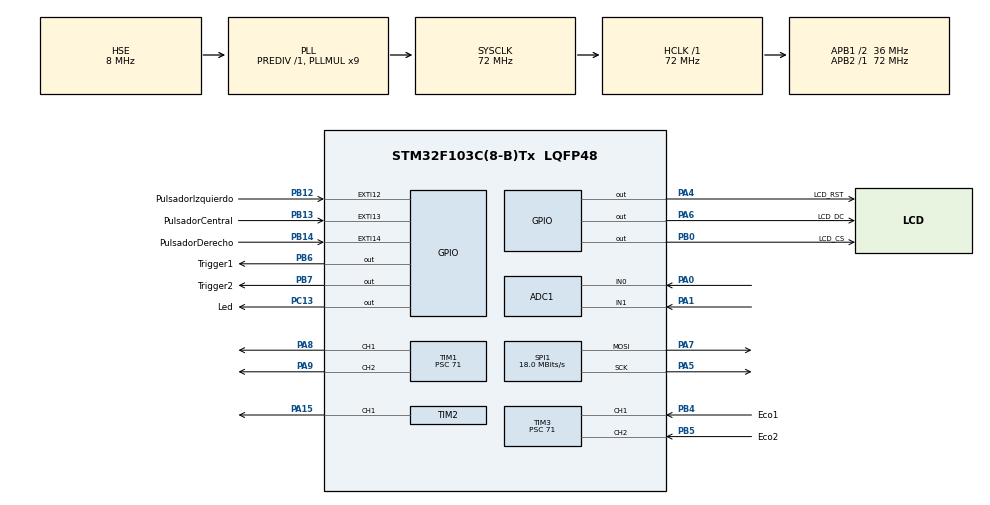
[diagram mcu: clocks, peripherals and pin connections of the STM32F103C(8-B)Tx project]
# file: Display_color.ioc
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ADC1.Channel-8\#ChannelRegularConversion=ADC_CHANNEL_0
ADC1.Channel-9\#ChannelRegularConversion=ADC_CHANNEL_1
ADC1.ContinuousConvMode=DISABLE
ADC1.NbrOfConversion=2
ADC1.NbrOfConversionFlag=1
ADC1.Rank-8\#ChannelRegularConversion=1
ADC1.Rank-9\#ChannelRegularConversion=2
ADC1.SamplingTime-8\#ChannelRegularConversion=ADC_SAMPLETIME_1CYCLE_5
ADC1.SamplingTime-9\#ChannelRegularConversion=ADC_SAMPLETIME_1CYCLE_5
ADC1.master=1
Dma.ADC1.1.Direction=DMA_PERIPH_TO_MEMORY
Dma.ADC1.1.Instance=DMA1_Channel1
Dma.ADC1.1.MemDataAlignment=DMA_MDATAALIGN_WORD
Dma.ADC1.1.MemInc=DMA_MINC_ENABLE
Dma.ADC1.1.Mode=DMA_CIRCULAR
Dma.ADC1.1.PeriphDataAlignment=DMA_PDATAALIGN_WORD
Dma.ADC1.1.PeriphInc=DMA_PINC_DISABLE
Dma.ADC1.1.Priority=DMA_PRIORITY_LOW
Dma.Request0=SPI1_TX
Dma.Request1=ADC1
Dma.SPI1_TX.0.Direction=DMA_MEMORY_TO_PERIPH
Dma.SPI1_TX.0.Instance=DMA1_Channel3
Dma.SPI1_TX.0.MemDataAlignment=DMA_MDATAALIGN_BYTE
Dma.SPI1_TX.0.MemInc=DMA_MINC_ENABLE
Dma.SPI1_TX.0.Mode=DMA_NORMAL
Dma.SPI1_TX.0.PeriphDataAlignment=DMA_PDATAALIGN_BYTE
Dma.SPI1_TX.0.PeriphInc=DMA_PINC_DISABLE
Dma.SPI1_TX.0.Priority=DMA_PRIORITY_LOW
Mcu.Family=STM32F1
Mcu.Name=STM32F103C(8-B)Tx
Mcu.Package=LQFP48
NVIC.ADC1_2_IRQn=true\:0\:0\:false\:false\:true\:true\:true\:true
NVIC.DMA1_Channel1_IRQn=true\:0\:0\:false\:false\:true\:false\:true\:true
NVIC.DMA1_Channel3_IRQn=true\:0\:0\:false\:false\:true\:false\:true\:true
NVIC.EXTI15_10_IRQn=true\:0\:0\:false\:false\:true\:true\:true\:true
NVIC.PriorityGroup=NVIC_PRIORITYGROUP_4
NVIC.SPI1_IRQn=true\:0\:0\:false\:false\:true\:true\:true\:true
NVIC.TIM4_IRQn=true\:0\:0\:false\:false\:true\:true\:true\:true
PA0-WKUP.Signal=ADCx_IN0
PA1.Signal=ADCx_IN1
PA13.Mode=Serial_Wire
PA13.Signal=SYS_JTMS-SWDIO
PA14.Mode=Serial_Wire
PA14.Signal=SYS_JTCK-SWCLK
PA15.Signal=S_TIM2_CH1_ETR
PA4.GPIO_Label=LCD_RST
PA4.GPIO_PuPd=GPIO_PULLUP
PA4.GPIO_Speed=GPIO_SPEED_FREQ_HIGH
PA4.PinState=GPIO_PIN_SET
PA4.Signal=GPIO_Output
PA5.Mode=TX_Only_Simplex_Unidirect_Master
PA5.Signal=SPI1_SCK
PA6.GPIO_Label=LCD_DC
PA6.GPIO_PuPd=GPIO_PULLUP
PA6.GPIO_Speed=GPIO_SPEED_FREQ_HIGH
PA6.PinState=GPIO_PIN_SET
PA6.Signal=GPIO_Output
PA7.Mode=TX_Only_Simplex_Unidirect_Master
PA7.Signal=SPI1_MOSI
PA8.Signal=S_TIM1_CH1
PA9.Signal=S_TIM1_CH2
PB0.GPIO_Label=LCD_CS
PB0.GPIO_PuPd=GPIO_PULLUP
PB0.GPIO_Speed=GPIO_SPEED_FREQ_HIGH
PB0.PinState=GPIO_PIN_SET
PB0.Signal=GPIO_Output
PB12.GPIO_Label=PulsadorIzquierdo
PB12.GPIO_ModeDefaultEXTI=GPIO_MODE_IT_FALLING
PB12.GPIO_PuPd=GPIO_PULLUP
PB12.Signal=GPXTI12
PB13.GPIO_Label=PulsadorCentral
PB13.GPIO_ModeDefaultEXTI=GPIO_MODE_IT_FALLING
PB13.GPIO_PuPd=GPIO_PULLUP
PB13.Signal=GPXTI13
PB14.GPIO_Label=PulsadorDerecho
PB14.GPIO_ModeDefaultEXTI=GPIO_MODE_IT_FALLING
PB14.GPIO_PuPd=GPIO_PULLUP
PB14.Signal=GPXTI14
PB4.GPIO_Label=Eco1
PB4.Signal=S_TIM3_CH1
PB5.GPIO_Label=Eco2
PB5.Signal=S_TIM3_CH2
PB6.GPIO_Label=Trigger1
PB6.Signal=GPIO_Output
PB7.GPIO_Label=Trigger2
PB7.Signal=GPIO_Output
PC13-TAMPER-RTC.GPIO_Label=Led
PC13-TAMPER-RTC.GPIO_PuPd=GPIO_NOPULL
PC13-TAMPER-RTC.GPIO_Speed=GPIO_SPEED_FREQ_LOW
PC13-TAMPER-RTC.PinState=GPIO_PIN_SET
PC13-TAMPER-RTC.Signal=GPIO_Output
PD0-OSC_IN.Mode=HSE-External-Oscillator
PD0-OSC_IN.Signal=RCC_OSC_IN
PD1-OSC_OUT.Mode=HSE-External-Oscillator
PD1-OSC_OUT.Signal=RCC_OSC_OUT
ProjectManager.HeapSize=0x200
ProjectManager.StackSize=0x400
ProjectManager.TargetToolchain=STM32CubeIDE
RCC.ADCPresc=RCC_ADCPCLK2_DIV6
RCC.AHBFreq_Value=72000000
RCC.APB1CLKDivider=RCC_HCLK_DIV2
RCC.APB1Freq_Value=36000000
RCC.APB1TimFreq_Value=72000000
RCC.APB2Freq_Value=72000000
RCC.APB2TimFreq_Value=72000000
RCC.HCLKFreq_Value=72000000
RCC.PLLMUL=RCC_PLL_MUL9
RCC.PLLSourceVirtual=RCC_PLLSOURCE_HSE
RCC.SYSCLKFreq_VALUE=72000000
RCC.SYSCLKSource=RCC_SYSCLKSOURCE_PLLCLK
RCC.USBFreq_Value=72000000
SH.ADCx_IN0.0=ADC1_IN0,IN0
SH.ADCx_IN1.0=ADC1_IN1,IN1
SH.S_TIM1_CH1.0=TIM1_CH1,PWM Generation1 CH1
SH.S_TIM1_CH2.0=TIM1_CH2,PWM Generation2 CH2
SH.S_TIM2_CH1_ETR.0=TIM2_CH1,PWM Generation1 CH1
SH.S_TIM3_CH1.0=TIM3_CH1,Input_Capture1_from_TI1
SH.S_TIM3_CH2.0=TIM3_CH2,Input_Capture2_from_TI2
SPI1.BaudRatePrescaler=SPI_BAUDRATEPRESCALER_4
SPI1.CalculateBaudRate=18.0 MBits/s
SPI1.Direction=SPI_DIRECTION_2LINES
SPI1.Mode=SPI_MODE_MASTER
SPI1.VirtualType=VM_MASTER
TIM1.Channel-PWM\ Generation1\ CH1=TIM_CHANNEL_1
TIM1.Channel-PWM\ Generation2\ CH2=TIM_CHANNEL_2
TIM1.Period=99
TIM1.Prescaler=71
TIM2.Channel-PWM\ Generation1\ CH1=TIM_CHANNEL_1
TIM2.Period=19999
TIM2.Prescaler=71
TIM3.Channel-Input_Capture1_from_TI1=TIM_CHANNEL_1
TIM3.Channel-Input_Capture2_from_TI2=TIM_CHANNEL_2
TIM3.Prescaler=71
TIM4.Prescaler=71
VP_TIM4_VS_ClockSourceITR.Mode=TriggerSource_ITR0
board=custom

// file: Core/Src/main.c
/* USER CODE BEGIN Header */
/**
  ******************************************************************************
  * @file           : main.c
  * @brief          : Main program body
  ******************************************************************************
  * @attention
  *
  * Copyright (c) 2026 STMicroelectronics.
  * All rights reserved.
  *
  * This software is licensed under terms that can be found in the LICENSE file
  * in the root directory of this software component.
  * If no LICENSE file comes with this software, it is provided AS-IS.
  *
  ******************************************************************************
  */
/* USER CODE END Header */
#include "main.h"
#include "adc.h"
#include "dma.h"
#include "spi.h"
#include "tim.h"
#include "gpio.h"

/* USER CODE BEGIN Includes */
#include "stdio.h"
#include "stdlib.h"
#include "ILI9341_STM32_Driver.h"
#include "ILI9341_GFX.h"
#include "ULTRASONICO.h"

/* USER CODE END Includes */

void SystemClock_Config(void);
/* USER CODE BEGIN PFP */

//Variables para el ADC
uint32_t canal_adc[2];
uint16_t adc1;
uint16_t adc2;
//Constante para servo
#define PULSE_MIN 550
#define PULSE_MAX 2450
//Variables para los PWM de los leds
static uint8_t duty_pwm_rojo=0;
static uint8_t porcentaje_duty_rojo=0;
static uint8_t duty_pwm_azul=0;
static uint8_t porcentaje_duty_azul=0;
//
static int contador=0;
static int contadorBarrido=0;
//uint8_t con;
//uint8_t fun;
//int r=0;

//Varibles de buffer para pasar de entero a cadena de texto
char z[20];
char y[20];
char red[20];
char blue[20];

static uint8_t dist_izq, dist_der;
int incremento = 2;

int anguloActual = 90;
float dIzq, dCentro, dDer;

uint8_t angulo=0;
uint8_t sentidoDegiro=0;

uint8_t pulso=0;
uint32_t ultimoPulso_izquierdo=0;
uint32_t muestraDeTiempoActual_izquierdo;
uint32_t ultimoPulso_central=0;
uint32_t muestraDeTiempoActual_central;
uint32_t ultimoPulso_derecho=0;
uint32_t muestraDeTiempoActual_derecho;

//Variables de estado para los pulsadores
volatile uint8_t IndiceMenu=1;
volatile uint8_t EnterMenu=0;
volatile uint8_t HabilitoPulsadoresID=1;
volatile uint8_t HabilitoEnter=0;
//Matriz para dibujar flecha
static  const uint8_t arrow[5][5] = {
   {0,0,1,0,0,},
   {0,0,1,1,0,},
   {1,1,1,1,1,},
   {0,0,1,1,0,},
   {0,0,1,0,0,}
  };
//Matriz para borrar flecha
static  const uint8_t arrow_borrar[5][5] = {
   {1,1,1,1,1,},
   {1,1,1,1,1,},
   {1,1,1,1,1,},
   {1,1,1,1,1,},
   {1,1,1,1,1,}
  };

/* USER CODE END PFP */

int main(void)
{

  /* MCU Configuration--------------------------------------------------------*/

  /* Reset of all peripherals, Initializes the Flash interface and the Systick. */
  HAL_Init();

  /* USER CODE BEGIN Init */
  MX_GPIO_Init();
  MX_DMA_Init();
  MX_SPI1_Init();

  MX_ADC1_Init();

  ILI9341_Init();

  /* USER CODE END Init */

  /* Configure the system clock */
  SystemClock_Config();

  /* Initialize all configured peripherals */
  MX_GPIO_Init();
  MX_DMA_Init();
  MX_SPI1_Init();
  MX_ADC1_Init();
  MX_TIM1_Init();
  MX_TIM3_Init();
  MX_TIM4_Init();
  MX_TIM2_Init();
  /* USER CODE BEGIN 2 */
//Timer de blink del led
  HAL_TIM_Base_Start_IT(&htim4);
//Configuracion display
  ILI9341_FillScreen(BLACK);
//Configuracion PWM------------------------
//El timer 1 para los PWM de los leds
  HAL_TIM_PWM_Start(&htim1, TIM_CHANNEL_1);  //Led rojo
  __HAL_TIM_SetCompare(&htim1,TIM_CHANNEL_1,0);//Led rojo
  HAL_TIM_PWM_Start(&htim1, TIM_CHANNEL_2);  //Led azul
  __HAL_TIM_SetCompare(&htim1,TIM_CHANNEL_2,200);//Led azul
//El timer 2 es para el PWM del servo
  HAL_TIM_PWM_Start(&htim2, TIM_CHANNEL_1);  //Servo
  __HAL_TIM_SetCompare(&htim2,TIM_CHANNEL_1,0);//Servo
//El timer 3 es para la entrada de captura el sensor ultrasonico
  HAL_TIM_IC_Start(&htim3, TIM_CHANNEL_1);
//El timer 4 es para blink del led y la habilitacion de la conversion ADC
  HAL_TIM_Base_Start_IT(&htim4);
  /* USER CODE END 2 */
  /* Infinite loop */
  /* USER CODE BEGIN WHILE */
///Funciones para graficar y borrar flecha selectora de display
#define ESCALA 4   // ← cambiá esto a 2, 3, 4, 5...

void drawArrow(uint16_t x, uint16_t y, uint16_t color)
{
    for (int j = 0; j < 5; j++)          // filas
    {
        for (int i = 0; i < 5; i++)      // columnas
        {
            if (arrow[j][i])
            {
                // dibuja un bloque SCALE x SCALE
                for (int dy = 0; dy < ESCALA; dy++)
                {
                    for (int dx = 0; dx < ESCALA; dx++)
                    {
                    	ILI9341_DrawPixel(
                            x + i * ESCALA + dx,
                            y + j * ESCALA + dy,
                            color
                        );
                    }
                }
            }
        }
    }
}

void drawArrow_borrar(uint16_t x, uint16_t y)
{
    for (int j = 0; j < 5; j++)          // filas
    {
        for (int i = 0; i < 5; i++)      // columnas
        {
            if (arrow_borrar[j][i])
            {
                // dibuja un bloque SCALE x SCALE
                for (int dy = 0; dy < ESCALA; dy++)
                {
                    for (int dx = 0; dx < ESCALA; dx++)
                    {
                    	ILI9341_DrawPixel(
                            x + i * ESCALA + dx,
                            y + j * ESCALA + dy,
                            BLACK
                        );
                    }
                }
            }
        }
    }
}

//Estructuras para generar instancias de dos ultrasonicos

         extern TIM_HandleTypeDef htim3;
         ULTRASONIC_HandleTypeDef sensor1 =
         {
             .TRIG_Port = GPIOB,
             .TRIG_Pin  = Trigger1_Pin,
             .ECHO_Port = GPIOB,
             .ECHO_Pin  = Eco1_Pin,
             .htim      = &htim3
         };

         ULTRASONIC_HandleTypeDef sensor2 =
         {
             .TRIG_Port = GPIOB,
             .TRIG_Pin  = Trigger2_Pin,
             .ECHO_Port = GPIOB,
             .ECHO_Pin  = Eco2_Pin,
             .htim      = &htim3
         };

         ultrasonic_init(&sensor1);
         ultrasonic_init(&sensor2);

//Funcion para calcular el ancho de pulso maximo y minimo del servo
void GiroAnguloServo(uint8_t angulo)
{
	uint16_t pwmServo;
	pwmServo=(uint16_t)((angulo-0)*(PULSE_MAX-PULSE_MIN) / (180-0)+PULSE_MIN );
	__HAL_TIM_SetCompare(&htim2,TIM_CHANNEL_1,pwmServo);

}
//Funcion para graficar indice de menu en display
void pintarMenu()
{    ILI9341_FillScreen(BLACK);
	 ILI9341_DrawText("Sonar", FONT6, 22, 0, WHITE, BLACK);
	 ILI9341_DrawText("Seguimiento", FONT6, 22, 30, WHITE, BLACK);
	 ILI9341_DrawText("Autores", FONT6, 22, 60, WHITE, BLACK);
	 ILI9341_DrawText("Valores ADC", FONT6, 22, 90, WHITE, BLACK);
}

//Funcion para rotar la pantalla
ILI9341_SetRotation(SCREEN_VERTICAL_2);
//Variables de estado para el menu
uint8_t caso4_ejecutado = 0;
uint8_t caso3_ejecutado = 0;
uint8_t caso2_ejecutado = 0;
uint8_t caso1_ejecutado = 0;
uint8_t sentidoBarrido = 0;  // 0 = ida, 1 = vuelta
//Llamado de funcion para graficar menu
pintarMenu();

  while (1)
  {

    switch(IndiceMenu)
    {
    case 1:
    	   HabilitoEnter=1;

    	   if(EnterMenu==1)//Pregunto si ingreso el primer pulso de Enter

    	 {

    		   HabilitoPulsadoresID=0;//Deshabilito pulsador izquierdo y derecho

           if(caso1_ejecutado==0)
           {     ILI9341_FillScreen(BLACK);
        	   caso1_ejecutado=1;
        	   ILI9341_SetRotation(SCREEN_HORIZONTAL_2);
        	   ILI9341_DrawText("DISTANCIA: ", FONT4, 10, 10, WHITE, BLACK);
           }

    	 dist_izq = ultrasonic_measure_distance(&sensor2);

    	 // -------- IDA --------
    	 if (sentidoBarrido == 0)
    	 {
    	     GiroAnguloServo(contadorBarrido);

    	     dist_izq = ultrasonic_measure_distance(&sensor2);
    	     sprintf(z, "%d cm", (int)dist_izq);
    	     ILI9341_DrawText(z, FONT4, 120, 10, CYAN, BLACK);

    	     ILI9341_DibujarBarridoAngulo(
    	         dist_izq * 7,
    	         contadorBarrido,
    	         contadorBarrido + 2,
    	         1,
    	         GREEN
    	     );

    	     contadorBarrido += 2;

    	     if (contadorBarrido >= 180)
    	     {
    	         contadorBarrido = 180;
    	         sentidoBarrido = 1;

    	         ILI9341_FillScreen(BLACK);
    	         ILI9341_DrawText("DISTANCIA: ", FONT4, 10, 10, WHITE, BLACK);
    	     }
    	 }

    	 // -------- VUELTA --------
    	 else
    	 {
    	     GiroAnguloServo(contadorBarrido);

    	     dist_izq = ultrasonic_measure_distance(&sensor2);
    	     sprintf(z, "%d cm", (int)dist_izq);
    	     ILI9341_DrawText(z, FONT4, 120, 10, CYAN, BLACK);

    	     ILI9341_DibujarBarridoAngulo(
    	         dist_izq * 7,
    	         contadorBarrido,
    	         contadorBarrido + 2,
    	         1,
    	         RED
    	     );

    	     if (contadorBarrido > 0)
    	     { contadorBarrido -= 2;}
    	     else
    	     { sentidoBarrido = 0;
    	       ILI9341_FillScreen(BLACK);
    	       ILI9341_DrawText("DISTANCIA: ", FONT4, 10, 10, WHITE, BLACK);
    	     }

    	 }

    	 }

           else if(EnterMenu==2)//Pregunto si ingreso el segundo pulso de Enter
           {EnterMenu=0;
            HabilitoPulsadoresID=1;
            caso1_ejecutado=0;
            ILI9341_SetRotation(SCREEN_VERTICAL_2);
            pintarMenu();
           }

    	   if(EnterMenu==0)
    	   { drawArrow_borrar(0, 90);
    	   drawArrow_borrar(0, 30);
    	   drawArrow(0, 0, RED);}

    	   break;
    case 2:
    	   HabilitoEnter=1;

    	   if(EnterMenu==1)//Pregunto si ingreso el primer pulso de Enter

    	   {
    		   if(caso2_ejecutado==0)
    		      	   {caso2_ejecutado=1;
    		      	     ILI9341_FillScreen(BLACK);
    		      	      ILI9341_DrawText("Ultrasonico 1: ", FONT4, 0, 10, PINK  , BLACK);
    		      	      ILI9341_DrawText("Ultrasonico 2: ", FONT4, 0, 40, YELLOW , BLACK);
    		      	      ILI9341_DrawText("cm", FONT4, 155, 10, PINK, BLACK);
    		      	      ILI9341_DrawText("cm", FONT4, 155, 40, YELLOW, BLACK);
    		      	      ILI9341_DrawText("Enter para regresar...", FONT4, 0, 300, GREEN, BLACK);
    		      	     }

    		   HabilitoPulsadoresID=0;//Deshabilito pulsador izquierdo y derecho

    		   // =======================
    		   //  BARRIDO IDA
    		   //  =======================
    		    dist_izq = ultrasonic_measure_distance(&sensor2);
    		    HAL_Delay(10);
                dist_der = ultrasonic_measure_distance(&sensor1);
                HAL_Delay(10);
                if(dist_izq>0 && dist_der>0)
    		  {       sprintf(z, "%d ", (int)dist_izq);
    			       ILI9341_DrawText(z, FONT4, 120, 10, WHITE   , BLACK);
                        sprintf(y, "%d ", (int)dist_der);
    			         ILI9341_DrawText(y, FONT4, 120, 40, CYAN , BLACK);
    			         // ¿Ambos sensores detectan objeto? (está centrado)
    			     		           if (dist_izq < 30 && dist_der < 30)
    			     		           {
    			     		               // OBJETO CENTRADO → QUEDARSE QUIETO
    			     		               // No hace nada, mantiene la posición actual
    			     		           }
    			     		           // ¿Solo un sensor detecta objeto?
    			     		           else if (dist_izq < 30 || dist_der < 30 )
    			     		           {
    			     		               // OBJETO DESCENTRADO → SEGUIRLO

    			     		               if (dist_izq < dist_der - 3)  // Objeto más cerca del IZQUIERDO
    			     		               {
    			     		                   if (angulo > 10)  // Solo resta si no está en el límite
    			     		                   {
    			     		                       angulo -= 10;  // Girar a la izquierda (incremento de 10°)
    			     		                       if (angulo < 10) angulo = 10;  // Límite mínimo 10°
    			     		                   }
    			     		               }
    			     		               else if (dist_der < dist_izq - 3)  // Objeto más cerca del DERECHO
    			     		               {
    			     		                   if (angulo < 170)  // Solo suma si no está en el límite
    			     		                   {
    			     		                       angulo += 10;  // Girar a la derecha (incremento de 10°)
    			     		                       if (angulo > 170) angulo = 170;  // Límite máximo 170°
    			     		                   }
    			     		               }

    			     		               GiroAnguloServo(angulo);  // Mover servo
    			     		           }
    		    }
    	        ///////////////////////////////////////////////////
                ///////////////////////////////////////////////////
                ////////////Vuelvo a repetir///////////////////////

    	   }

           else if(EnterMenu==2)//Pregunto si ingreso el segundo pulso de Enter
           {EnterMenu=0;
            HabilitoPulsadoresID=1;
            caso2_ejecutado=0;
            pintarMenu();
           }

    	   if(EnterMenu==0)
    	   {drawArrow_borrar(0, 0);
    	   drawArrow_borrar(0, 60);
       	   drawArrow(0, 30, RED);
    	   }
       	   break;
    case 3:
                 HabilitoEnter=1; //Habilito el pulsador central

                   if(EnterMenu==1)//Pregunto si ingreso el primer pulso de Enter
                   {

                	   HabilitoPulsadoresID=0;//Deshabilito pulsador izquierdo y derecho

                	   if(caso3_ejecutado==0)//Condicion para ejecutar una sola vez
                	  {caso3_ejecutado=1;
                	   ILI9341_FillScreen(BLACK);
                	   ILI9341_DrawText("Integrantes:", FONT6, 22, 0, WHITE, BLACK);
                	   ILI9341_DrawText("*Sebastian Aguero", FONT6, 0, 50, CYAN, BLACK);
                	   ILI9341_DrawText("*Juan Rodriguez", FONT6, 0, 100, MAGENTA , BLACK);
                	   ILI9341_DrawText("Enter para regresar...", FONT4, 0, 300, GREEN, BLACK);

                	  }
                    }
                   else if(EnterMenu==2)//Pregunto si ingreso el segundo pulso de Enter
                   {EnterMenu=0;
                    HabilitoPulsadoresID=1;
                    caso3_ejecutado=0;
                    pintarMenu();}

                    if(EnterMenu==0)//Condicion para imprimir solo una vez la flecha de seleccion
                    { drawArrow_borrar(0, 30);
    	            drawArrow_borrar(0, 90);
    	            drawArrow(0, 60, RED);
                    }

       	   break;
    case 4:

   	   HabilitoEnter=1;

     	   if(EnterMenu==1)//Pregunto si ingreso el primer pulso de Enter

     	 {
     		   HabilitoPulsadoresID=0;//Deshabilito pulsador izquierdo y derecho

               if(caso4_ejecutado==0)
               {     ILI9341_FillScreen(BLACK);
            	   caso4_ejecutado=1;
            	  ILI9341_DrawText("Led azul:", FONT6, 10, 10, BLUE, BLACK);
            	  ILI9341_DrawText("Led rojo:", FONT6, 10, 50, RED, BLACK);

            	  ILI9341_DrawText(" %", FONT6, 160, 10, WHITE, BLACK);
            	  ILI9341_DrawText(" %", FONT6, 160, 50, WHITE, BLACK);
            	  ILI9341_DrawText("Enter para regresar...", FONT4, 0, 300, GREEN, BLACK);

               }

    	   sprintf(red, "%d ", (int)porcentaje_duty_rojo);
    	   sprintf(blue, "%d ", (int)porcentaje_duty_azul);
    	   ILI9341_DrawText(blue, FONT6, 125, 10, BLUE   , BLACK);
    	   ILI9341_DrawText(red, FONT6, 125, 50, RED   , BLACK);
     	 }

           else if(EnterMenu==2)//Pregunto si ingreso el segundo pulso de Enter
             {EnterMenu=0;
              HabilitoPulsadoresID=1;
              caso4_ejecutado=0;

              pintarMenu();
             }

      	   if(EnterMenu==0)
      	   { drawArrow_borrar(0, 60);
    	     drawArrow(0, 90, RED);
      	   //  drawArrow(0, 0, RED);
      	   }

       	   break;

    }

    /* USER CODE END WHILE */

    /* USER CODE BEGIN 3 */

    /* USER CODE BEGIN 3 */
  }

  /* USER CODE END 3 */
}

void SystemClock_Config(void)
{
  RCC_OscInitTypeDef RCC_OscInitStruct = {0};
  RCC_ClkInitTypeDef RCC_ClkInitStruct = {0};
  RCC_PeriphCLKInitTypeDef PeriphClkInit = {0};

  /** Initializes the RCC Oscillators according to the specified parameters
  * in the RCC_OscInitTypeDef structure.
  */
  RCC_OscInitStruct.OscillatorType = RCC_OSCILLATORTYPE_HSE;
  RCC_OscInitStruct.HSEState = RCC_HSE_ON;
  RCC_OscInitStruct.HSEPredivValue = RCC_HSE_PREDIV_DIV1;
  RCC_OscInitStruct.HSIState = RCC_HSI_ON;
  RCC_OscInitStruct.PLL.PLLState = RCC_PLL_ON;
  RCC_OscInitStruct.PLL.PLLSource = RCC_PLLSOURCE_HSE;
  RCC_OscInitStruct.PLL.PLLMUL = RCC_PLL_MUL9;
  if (HAL_RCC_OscConfig(&RCC_OscInitStruct) != HAL_OK)
  {
    Error_Handler();
  }

  /** Initializes the CPU, AHB and APB buses clocks
  */
  RCC_ClkInitStruct.ClockType = RCC_CLOCKTYPE_HCLK|RCC_CLOCKTYPE_SYSCLK
                              |RCC_CLOCKTYPE_PCLK1|RCC_CLOCKTYPE_PCLK2;
  RCC_ClkInitStruct.SYSCLKSource = RCC_SYSCLKSOURCE_PLLCLK;
  RCC_ClkInitStruct.AHBCLKDivider = RCC_SYSCLK_DIV1;
  RCC_ClkInitStruct.APB1CLKDivider = RCC_HCLK_DIV2;
  RCC_ClkInitStruct.APB2CLKDivider = RCC_HCLK_DIV1;

  if (HAL_RCC_ClockConfig(&RCC_ClkInitStruct, FLASH_LATENCY_2) != HAL_OK)
  {
    Error_Handler();
  }
  PeriphClkInit.PeriphClockSelection = RCC_PERIPHCLK_ADC;
  PeriphClkInit.AdcClockSelection = RCC_ADCPCLK2_DIV6;
  if (HAL_RCCEx_PeriphCLKConfig(&PeriphClkInit) != HAL_OK)
  {
    Error_Handler();
  }
}

/* USER CODE BEGIN 4 */

//Callback del timer
void HAL_TIM_PeriodElapsedCallback(TIM_HandleTypeDef *htim)
{
 HAL_ADC_Start_DMA(&hadc1, canal_adc, 2);
 HAL_ADC_Start_IT(&hadc1);
 if(contador>=1)
 {HAL_GPIO_TogglePin(GPIOC, Led_Pin);
  contador=0;}
 contador++;
}

//Callback del ADC de conversion completa
void HAL_ADC_ConvCpltCallback(ADC_HandleTypeDef* hadc)
{
 adc1=(uint16_t)canal_adc[0];
 adc2=(uint16_t)canal_adc[1];

 duty_pwm_rojo=(uint8_t)((adc1*99)/4095);
 porcentaje_duty_rojo=(uint8_t)((duty_pwm_rojo*100)/99);
 __HAL_TIM_SetCompare(&htim1,TIM_CHANNEL_1,porcentaje_duty_rojo);

 duty_pwm_azul=(uint8_t)((adc2*99)/4095);
 porcentaje_duty_azul=(uint8_t)((duty_pwm_azul*100)/99);
 __HAL_TIM_SetCompare(&htim1,TIM_CHANNEL_2,porcentaje_duty_azul);
}

//Callback de interrupción externa
void HAL_GPIO_EXTI_Callback(uint16_t GPIO_Pin)
{

if(HabilitoEnter==1)
{
	if(GPIO_Pin==PulsadorCentral_Pin)
	{
		muestraDeTiempoActual_central= HAL_GetTick();
		if((muestraDeTiempoActual_central - ultimoPulso_central) >400)
		{
			ultimoPulso_central=muestraDeTiempoActual_central;
   			EnterMenu++;
		}
	}

}

if(HabilitoPulsadoresID==1)
{

	if(GPIO_Pin==PulsadorIzquierdo_Pin)
	{
		muestraDeTiempoActual_izquierdo= HAL_GetTick();
		if(IndiceMenu<4)
		{
		if((muestraDeTiempoActual_izquierdo - ultimoPulso_izquierdo) >250)
		{
			ultimoPulso_izquierdo=muestraDeTiempoActual_izquierdo;
			IndiceMenu++;
		}
		}
	}

	if(GPIO_Pin==PulsadorDerecho_Pin)
	{
		if(IndiceMenu>1)
		{
		muestraDeTiempoActual_derecho= HAL_GetTick();
		if((muestraDeTiempoActual_derecho - ultimoPulso_derecho) >250)
		{ultimoPulso_derecho=muestraDeTiempoActual_derecho;
		 IndiceMenu--;}
		}
	}

}

}

/* USER CODE END 4 */

void Error_Handler(void)
{
  __disable_irq();
  while (1)
  {
  }
}
